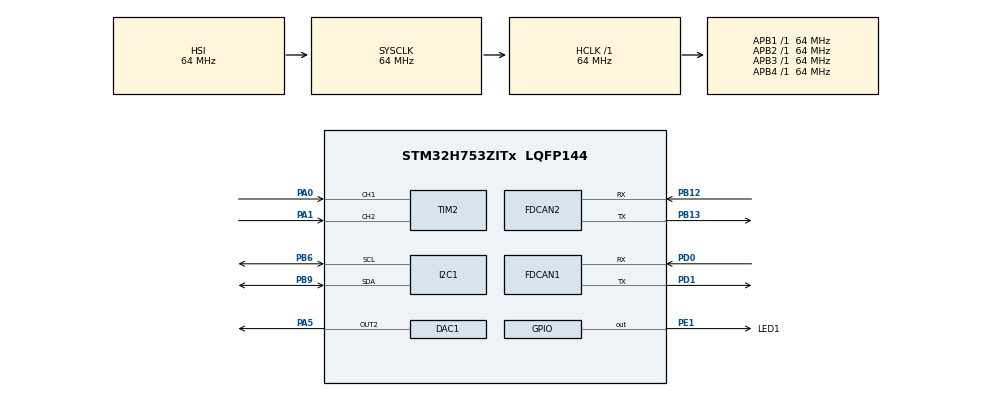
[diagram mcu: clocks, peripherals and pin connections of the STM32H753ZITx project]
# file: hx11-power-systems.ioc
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CORTEX_M7.default_mode_Activation=1
DAC1.DAC_Channel-DAC_OUT2=DAC_CHANNEL_2
FDCAN1.CalculateBaudRateNominal=500000
FDCAN1.CalculateTimeBitNominal=2000
FDCAN1.CalculateTimeQuantumNominal=125.0
FDCAN1.ClockCalibrationCCU=DISABLE
FDCAN1.ExtFiltersNbr=2
FDCAN1.NominalPrescaler=5
FDCAN1.NominalTimeSeg1=13
FDCAN1.NominalTimeSeg2=2
FDCAN1.RxFifo0ElmtsNbr=4
FDCAN2.CalculateBaudRateNominal=500000
FDCAN2.CalculateTimeBitNominal=2000
FDCAN2.CalculateTimeQuantumNominal=125.0
FDCAN2.ExtFiltersNbr=2
FDCAN2.NominalPrescaler=5
FDCAN2.NominalTimeSeg1=13
FDCAN2.NominalTimeSeg2=2
FDCAN2.RxFifo1ElmtsNbr=10
I2C1.Timing=0x00000E14
Mcu.Family=STM32H7
Mcu.Name=STM32H753ZITx
Mcu.Package=LQFP144
NVIC.FDCAN1_IT0_IRQn=true\:0\:0\:false\:false\:true\:true\:true\:true
NVIC.FDCAN2_IT1_IRQn=true\:0\:0\:false\:false\:true\:true\:true\:true
NVIC.I2C1_ER_IRQn=true\:0\:0\:false\:false\:true\:true\:true\:true
NVIC.I2C1_EV_IRQn=true\:0\:0\:false\:false\:true\:true\:true\:true
NVIC.PriorityGroup=NVIC_PRIORITYGROUP_4
NVIC.TIM2_IRQn=true\:0\:0\:false\:false\:true\:true\:true\:true
PA0.Signal=S_TIM2_CH1_ETR
PA1.Signal=S_TIM2_CH2
PA5.Signal=COMP_DAC12_group
PB12.Mode=FDCAN_Activate
PB12.Signal=FDCAN2_RX
PB13.Mode=FDCAN_Activate
PB13.Signal=FDCAN2_TX
PB6.GPIO_Pu=GPIO_PULLUP
PB6.GPIO_Speed=GPIO_SPEED_FREQ_HIGH
PB6.Mode=I2C
PB6.Signal=I2C1_SCL
PB9.GPIO_Pu=GPIO_PULLUP
PB9.GPIO_Speed=GPIO_SPEED_FREQ_HIGH
PB9.Mode=I2C
PB9.Signal=I2C1_SDA
PD0.GPIO_PuPd=GPIO_PULLUP
PD0.Mode=FDCAN_Activate
PD0.Signal=FDCAN1_RX
PD1.GPIO_PuPd=GPIO_PULLUP
PD1.Mode=FDCAN_Activate
PD1.Signal=FDCAN1_TX
PE1.GPIO_Label=LED1
PE1.Signal=GPIO_Output
ProjectManager.HeapSize=0x200
ProjectManager.StackSize=0x400
ProjectManager.TargetToolchain=STM32CubeIDE
RCC.ADCFreq_Value=129000000
RCC.APB1Freq_Value=64000000
RCC.APB2Freq_Value=64000000
RCC.APB3Freq_Value=64000000
RCC.APB4Freq_Value=64000000
RCC.CortexFreq_Value=64000000
RCC.DIVM1=4
RCC.DIVN1=10
RCC.DIVQ1=4
RCC.HCLKFreq_Value=64000000
RCC.I2C123CLockSelection=RCC_I2C123CLKSOURCE_CSI
RCC.PLLFRACN=0
RCC.SYSCLKFreq_VALUE=64000000
RCC.USBFreq_Value=40000000
SH.COMP_DAC12_group.0=DAC1_OUT2,DAC_OUT2
SH.S_TIM2_CH1_ETR.0=TIM2_CH1,Encoder_Interface
SH.S_TIM2_CH2.0=TIM2_CH2,Encoder_Interface
TIM2.EncoderMode=TIM_ENCODERMODE_TI12
TIM2.IC1Polarity=TIM_ICPOLARITY_FALLING
TIM2.IC2Polarity=TIM_ICPOLARITY_FALLING
VP_MEMORYMAP_VS_MEMORYMAP.Mode=CurAppReg
board=custom

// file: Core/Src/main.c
/* USER CODE BEGIN Header */
/**
  ******************************************************************************
  * @file           : main.c
  * @brief          : Main program body
  ******************************************************************************
  * @attention
  *
  * Copyright (c) 2026 STMicroelectronics.
  * All rights reserved.
  *
  * This software is licensed under terms that can be found in the LICENSE file
  * in the root directory of this software component.
  * If no LICENSE file comes with this software, it is provided AS-IS.
  *
  ******************************************************************************
  */
/* USER CODE END Header */
#include "main.h"

/* USER CODE BEGIN Includes */
#include <stdio.h>

#include "can.h"
#include "throttleDriver.h"
/* USER CODE END Includes */

DAC_HandleTypeDef hdac1;

FDCAN_HandleTypeDef hfdcan1;
FDCAN_HandleTypeDef hfdcan2;

I2C_HandleTypeDef hi2c1;

TIM_HandleTypeDef htim2;

void SystemClock_Config(void);
static void MPU_Config(void);
static void MX_GPIO_Init(void);
static void MX_FDCAN1_Init(void);
static void MX_DAC1_Init(void);
static void MX_TIM2_Init(void);
static void MX_I2C1_Init(void);
static void MX_FDCAN2_Init(void);

/* USER CODE BEGIN 0 */
int debug0;
int debug1;
int debug2;
int debug3;
int debug4;
int debug5;

VFD_CAN_Data vfdData;
BMS_CAN_Data bmsData;
IMD_CAN_Data imdData;

/* USER CODE END 0 */

int main(void)
{

  /* MPU Configuration--------------------------------------------------------*/
  MPU_Config();

  /* MCU Configuration--------------------------------------------------------*/

  /* Reset of all peripherals, Initializes the Flash interface and the Systick. */
  HAL_Init();

  /* Configure the system clock */
  SystemClock_Config();

  /* Initialize all configured peripherals */
  MX_GPIO_Init();
  MX_FDCAN1_Init();
  MX_DAC1_Init();
  MX_TIM2_Init();
  MX_I2C1_Init();
  MX_FDCAN2_Init();
  /* USER CODE BEGIN 2 */

  //dac testing:
  HAL_DAC_Start(&hdac1, DAC_CHANNEL_2);

  // can line 1
  HAL_NVIC_SetPriority(FDCAN1_IT0_IRQn, 5, 0);
  HAL_NVIC_EnableIRQ(FDCAN1_IT0_IRQn);

  //can line 2
  HAL_NVIC_SetPriority(FDCAN2_IT1_IRQn, 5, 0);
  HAL_NVIC_EnableIRQ(FDCAN2_IT1_IRQn);

  //CAN2 filter (250)
  FDCAN_FilterTypeDef filter2;
  filter2.IdType = FDCAN_EXTENDED_ID;
  filter2.FilterIndex = 1;
  filter2.FilterType = FDCAN_FILTER_MASK;
  filter2.FilterConfig = FDCAN_FILTER_TO_RXFIFO1;
  filter2.FilterID1 = 0;
  filter2.FilterID2 = 0;
  HAL_FDCAN_ConfigFilter(&hfdcan2, &filter2);

  // CAN1 filter (500)
  FDCAN_FilterTypeDef filter1;
  filter1.IdType = FDCAN_EXTENDED_ID;
  filter1.FilterIndex = 0;
  filter1.FilterType = FDCAN_FILTER_MASK;
  filter1.FilterConfig = FDCAN_FILTER_TO_RXFIFO0;
  filter1.FilterID1 = 0;
  filter1.FilterID2 = 0;
  HAL_FDCAN_ConfigFilter(&hfdcan1, &filter1);

  if ((HAL_FDCAN_Start(&hfdcan1) != HAL_OK))
  {
      Error_Handler();
  }

  if ((HAL_FDCAN_Start(&hfdcan2) != HAL_OK))
    {
        Error_Handler();
    }

  HAL_FDCAN_ConfigInterruptLines(&hfdcan1, FDCAN_IT_RX_FIFO0_NEW_MESSAGE, FDCAN_INTERRUPT_LINE0);

  HAL_FDCAN_ConfigInterruptLines(&hfdcan2, FDCAN_IT_RX_FIFO1_NEW_MESSAGE, FDCAN_INTERRUPT_LINE1);

  // Activate the notification for new data in FIFO0 for FDCAN1, FIFO1 for FDCAN2
  //this notification triggers the interrupt
  if ((HAL_FDCAN_ActivateNotification(&hfdcan1, FDCAN_IT_RX_FIFO0_NEW_MESSAGE, 0) != HAL_OK))
  {
      Error_Handler();
  }

  if ((HAL_FDCAN_ActivateNotification(&hfdcan2, FDCAN_IT_RX_FIFO1_NEW_MESSAGE, 0) != HAL_OK))
    {
        Error_Handler();
    }

  //=============================================================================

  /* USER CODE END 2 */

  /* Infinite loop */
  /* USER CODE BEGIN WHILE */

  while (1)
  {
		//process_CAN250_msgs(&vfdData);
		//process_CAN500_msgs(&bmsData, &imdData);

		DAC_SetValue(1000);
		HAL_Delay(1000);
		DAC_SetValue(2000);
		HAL_Delay(1000);
		DAC_SetValue(4095);
		HAL_Delay(1000);

    /* USER CODE END WHILE */

  }
}

void SystemClock_Config(void)
{
  RCC_OscInitTypeDef RCC_OscInitStruct = {0};
  RCC_ClkInitTypeDef RCC_ClkInitStruct = {0};

  /** Supply configuration update enable
  */
  HAL_PWREx_ConfigSupply(PWR_LDO_SUPPLY);

  /** Configure the main internal regulator output voltage
  */
  __HAL_PWR_VOLTAGESCALING_CONFIG(PWR_REGULATOR_VOLTAGE_SCALE3);

  while(!__HAL_PWR_GET_FLAG(PWR_FLAG_VOSRDY)) {}

  /** Initializes the RCC Oscillators according to the specified parameters
  * in the RCC_OscInitTypeDef structure.
  */
  RCC_OscInitStruct.OscillatorType = RCC_OSCILLATORTYPE_CSI|RCC_OSCILLATORTYPE_HSI;
  RCC_OscInitStruct.HSIState = RCC_HSI_DIV1;
  RCC_OscInitStruct.HSICalibrationValue = RCC_HSICALIBRATION_DEFAULT;
  RCC_OscInitStruct.CSIState = RCC_CSI_ON;
  RCC_OscInitStruct.CSICalibrationValue = RCC_CSICALIBRATION_DEFAULT;
  RCC_OscInitStruct.PLL.PLLState = RCC_PLL_ON;
  RCC_OscInitStruct.PLL.PLLSource = RCC_PLLSOURCE_HSI;
  RCC_OscInitStruct.PLL.PLLM = 4;
  RCC_OscInitStruct.PLL.PLLN = 10;
  RCC_OscInitStruct.PLL.PLLP = 2;
  RCC_OscInitStruct.PLL.PLLQ = 4;
  RCC_OscInitStruct.PLL.PLLR = 2;
  RCC_OscInitStruct.PLL.PLLRGE = RCC_PLL1VCIRANGE_3;
  RCC_OscInitStruct.PLL.PLLVCOSEL = RCC_PLL1VCOMEDIUM;
  RCC_OscInitStruct.PLL.PLLFRACN = 0;
  if (HAL_RCC_OscConfig(&RCC_OscInitStruct) != HAL_OK)
  {
    Error_Handler();
  }

  /** Initializes the CPU, AHB and APB buses clocks
  */
  RCC_ClkInitStruct.ClockType = RCC_CLOCKTYPE_HCLK|RCC_CLOCKTYPE_SYSCLK
                              |RCC_CLOCKTYPE_PCLK1|RCC_CLOCKTYPE_PCLK2
                              |RCC_CLOCKTYPE_D3PCLK1|RCC_CLOCKTYPE_D1PCLK1;
  RCC_ClkInitStruct.SYSCLKSource = RCC_SYSCLKSOURCE_HSI;
  RCC_ClkInitStruct.SYSCLKDivider = RCC_SYSCLK_DIV1;
  RCC_ClkInitStruct.AHBCLKDivider = RCC_HCLK_DIV1;
  RCC_ClkInitStruct.APB3CLKDivider = RCC_APB3_DIV1;
  RCC_ClkInitStruct.APB1CLKDivider = RCC_APB1_DIV1;
  RCC_ClkInitStruct.APB2CLKDivider = RCC_APB2_DIV1;
  RCC_ClkInitStruct.APB4CLKDivider = RCC_APB4_DIV1;

  if (HAL_RCC_ClockConfig(&RCC_ClkInitStruct, FLASH_LATENCY_1) != HAL_OK)
  {
    Error_Handler();
  }
}

static void MX_DAC1_Init(void)
{

  DAC_ChannelConfTypeDef sConfig = {0};

  /** DAC Initialization
  */
  hdac1.Instance = DAC1;
  if (HAL_DAC_Init(&hdac1) != HAL_OK)
  {
    Error_Handler();
  }

  /** DAC channel OUT2 config
  */
  sConfig.DAC_SampleAndHold = DAC_SAMPLEANDHOLD_DISABLE;
  sConfig.DAC_Trigger = DAC_TRIGGER_NONE;
  sConfig.DAC_OutputBuffer = DAC_OUTPUTBUFFER_ENABLE;
  sConfig.DAC_ConnectOnChipPeripheral = DAC_CHIPCONNECT_DISABLE;
  sConfig.DAC_UserTrimming = DAC_TRIMMING_FACTORY;
  if (HAL_DAC_ConfigChannel(&hdac1, &sConfig, DAC_CHANNEL_2) != HAL_OK)
  {
    Error_Handler();
  }
  /* USER CODE BEGIN DAC1_Init 2 */
  HAL_DAC_Start(&hdac1, DAC_CHANNEL_2);
  /* USER CODE END DAC1_Init 2 */

}

static void MX_FDCAN1_Init(void)
{

  hfdcan1.Instance = FDCAN1;
  hfdcan1.Init.FrameFormat = FDCAN_FRAME_CLASSIC;
  hfdcan1.Init.Mode = FDCAN_MODE_NORMAL;
  hfdcan1.Init.AutoRetransmission = DISABLE;
  hfdcan1.Init.TransmitPause = DISABLE;
  hfdcan1.Init.ProtocolException = DISABLE;
  hfdcan1.Init.NominalPrescaler = 5;
  hfdcan1.Init.NominalSyncJumpWidth = 1;
  hfdcan1.Init.NominalTimeSeg1 = 13;
  hfdcan1.Init.NominalTimeSeg2 = 2;
  hfdcan1.Init.DataPrescaler = 1;
  hfdcan1.Init.DataSyncJumpWidth = 1;
  hfdcan1.Init.DataTimeSeg1 = 1;
  hfdcan1.Init.DataTimeSeg2 = 1;
  hfdcan1.Init.MessageRAMOffset = 0;
  hfdcan1.Init.StdFiltersNbr = 0;
  hfdcan1.Init.ExtFiltersNbr = 2;
  hfdcan1.Init.RxFifo0ElmtsNbr = 4;
  hfdcan1.Init.RxFifo0ElmtSize = FDCAN_DATA_BYTES_8;
  hfdcan1.Init.RxFifo1ElmtsNbr = 0;
  hfdcan1.Init.RxFifo1ElmtSize = FDCAN_DATA_BYTES_8;
  hfdcan1.Init.RxBuffersNbr = 0;
  hfdcan1.Init.RxBufferSize = FDCAN_DATA_BYTES_8;
  hfdcan1.Init.TxEventsNbr = 0;
  hfdcan1.Init.TxBuffersNbr = 0;
  hfdcan1.Init.TxFifoQueueElmtsNbr = 0;
  hfdcan1.Init.TxFifoQueueMode = FDCAN_TX_FIFO_OPERATION;
  hfdcan1.Init.TxElmtSize = FDCAN_DATA_BYTES_8;
  if (HAL_FDCAN_Init(&hfdcan1) != HAL_OK)
  {
    Error_Handler();
  }

}

static void MX_FDCAN2_Init(void)
{

  hfdcan2.Instance = FDCAN2;
  hfdcan2.Init.FrameFormat = FDCAN_FRAME_CLASSIC;
  hfdcan2.Init.Mode = FDCAN_MODE_NORMAL;
  hfdcan2.Init.AutoRetransmission = DISABLE;
  hfdcan2.Init.TransmitPause = DISABLE;
  hfdcan2.Init.ProtocolException = DISABLE;
  hfdcan2.Init.NominalPrescaler = 5;
  hfdcan2.Init.NominalSyncJumpWidth = 1;
  hfdcan2.Init.NominalTimeSeg1 = 13;
  hfdcan2.Init.NominalTimeSeg2 = 2;
  hfdcan2.Init.DataPrescaler = 1;
  hfdcan2.Init.DataSyncJumpWidth = 1;
  hfdcan2.Init.DataTimeSeg1 = 1;
  hfdcan2.Init.DataTimeSeg2 = 1;
  hfdcan2.Init.MessageRAMOffset = 0;
  hfdcan2.Init.StdFiltersNbr = 0;
  hfdcan2.Init.ExtFiltersNbr = 2;
  hfdcan2.Init.RxFifo0ElmtsNbr = 0;
  hfdcan2.Init.RxFifo0ElmtSize = FDCAN_DATA_BYTES_8;
  hfdcan2.Init.RxFifo1ElmtsNbr = 10;
  hfdcan2.Init.RxFifo1ElmtSize = FDCAN_DATA_BYTES_8;
  hfdcan2.Init.RxBuffersNbr = 0;
  hfdcan2.Init.RxBufferSize = FDCAN_DATA_BYTES_8;
  hfdcan2.Init.TxEventsNbr = 0;
  hfdcan2.Init.TxBuffersNbr = 0;
  hfdcan2.Init.TxFifoQueueElmtsNbr = 0;
  hfdcan2.Init.TxFifoQueueMode = FDCAN_TX_FIFO_OPERATION;
  hfdcan2.Init.TxElmtSize = FDCAN_DATA_BYTES_8;
  if (HAL_FDCAN_Init(&hfdcan2) != HAL_OK)
  {
    Error_Handler();
  }

}

static void MX_I2C1_Init(void)
{

  hi2c1.Instance = I2C1;
  hi2c1.Init.Timing = 0x00000E14;
  hi2c1.Init.OwnAddress1 = 0;
  hi2c1.Init.AddressingMode = I2C_ADDRESSINGMODE_7BIT;
  hi2c1.Init.DualAddressMode = I2C_DUALADDRESS_DISABLE;
  hi2c1.Init.OwnAddress2 = 0;
  hi2c1.Init.OwnAddress2Masks = I2C_OA2_NOMASK;
  hi2c1.Init.GeneralCallMode = I2C_GENERALCALL_DISABLE;
  hi2c1.Init.NoStretchMode = I2C_NOSTRETCH_DISABLE;
  if (HAL_I2C_Init(&hi2c1) != HAL_OK)
  {
    Error_Handler();
  }

  /** Configure Analogue filter
  */
  if (HAL_I2CEx_ConfigAnalogFilter(&hi2c1, I2C_ANALOGFILTER_ENABLE) != HAL_OK)
  {
    Error_Handler();
  }

  /** Configure Digital filter
  */
  if (HAL_I2CEx_ConfigDigitalFilter(&hi2c1, 0) != HAL_OK)
  {
    Error_Handler();
  }

}

static void MX_TIM2_Init(void)
{

  TIM_Encoder_InitTypeDef sConfig = {0};
  TIM_MasterConfigTypeDef sMasterConfig = {0};

  htim2.Instance = TIM2;
  htim2.Init.Prescaler = 0;
  htim2.Init.CounterMode = TIM_COUNTERMODE_UP;
  htim2.Init.Period = 4294967295;
  htim2.Init.ClockDivision = TIM_CLOCKDIVISION_DIV1;
  htim2.Init.AutoReloadPreload = TIM_AUTORELOAD_PRELOAD_DISABLE;
  sConfig.EncoderMode = TIM_ENCODERMODE_TI12;
  sConfig.IC1Polarity = TIM_ICPOLARITY_FALLING;
  sConfig.IC1Selection = TIM_ICSELECTION_DIRECTTI;
  sConfig.IC1Prescaler = TIM_ICPSC_DIV1;
  sConfig.IC1Filter = 0;
  sConfig.IC2Polarity = TIM_ICPOLARITY_FALLING;
  sConfig.IC2Selection = TIM_ICSELECTION_DIRECTTI;
  sConfig.IC2Prescaler = TIM_ICPSC_DIV1;
  sConfig.IC2Filter = 0;
  if (HAL_TIM_Encoder_Init(&htim2, &sConfig) != HAL_OK)
  {
    Error_Handler();
  }
  sMasterConfig.MasterOutputTrigger = TIM_TRGO_RESET;
  sMasterConfig.MasterSlaveMode = TIM_MASTERSLAVEMODE_DISABLE;
  if (HAL_TIMEx_MasterConfigSynchronization(&htim2, &sMasterConfig) != HAL_OK)
  {
    Error_Handler();
  }

}

static void MX_GPIO_Init(void)
{
  GPIO_InitTypeDef GPIO_InitStruct = {0};

  /* GPIO Ports Clock Enable */
  __HAL_RCC_GPIOA_CLK_ENABLE();
  __HAL_RCC_GPIOB_CLK_ENABLE();
  __HAL_RCC_GPIOD_CLK_ENABLE();
  __HAL_RCC_GPIOE_CLK_ENABLE();

  /*Configure GPIO pin Output Level */
  HAL_GPIO_WritePin(LED1_GPIO_Port, LED1_Pin, GPIO_PIN_RESET);

  /*Configure GPIO pin : LED1_Pin */
  GPIO_InitStruct.Pin = LED1_Pin;
  GPIO_InitStruct.Mode = GPIO_MODE_OUTPUT_PP;
  GPIO_InitStruct.Pull = GPIO_NOPULL;
  GPIO_InitStruct.Speed = GPIO_SPEED_FREQ_LOW;
  HAL_GPIO_Init(LED1_GPIO_Port, &GPIO_InitStruct);

}

 /* MPU Configuration */

void MPU_Config(void)
{
  MPU_Region_InitTypeDef MPU_InitStruct = {0};

  /* Disables the MPU */
  HAL_MPU_Disable();

  /** Initializes and configures the Region and the memory to be protected
  */
  MPU_InitStruct.Enable = MPU_REGION_ENABLE;
  MPU_InitStruct.Number = MPU_REGION_NUMBER0;
  MPU_InitStruct.BaseAddress = 0x0;
  MPU_InitStruct.Size = MPU_REGION_SIZE_4GB;
  MPU_InitStruct.SubRegionDisable = 0x87;
  MPU_InitStruct.TypeExtField = MPU_TEX_LEVEL0;
  MPU_InitStruct.AccessPermission = MPU_REGION_NO_ACCESS;
  MPU_InitStruct.DisableExec = MPU_INSTRUCTION_ACCESS_DISABLE;
  MPU_InitStruct.IsShareable = MPU_ACCESS_SHAREABLE;
  MPU_InitStruct.IsCacheable = MPU_ACCESS_NOT_CACHEABLE;
  MPU_InitStruct.IsBufferable = MPU_ACCESS_NOT_BUFFERABLE;

  HAL_MPU_ConfigRegion(&MPU_InitStruct);
  /* Enables the MPU */
  HAL_MPU_Enable(MPU_PRIVILEGED_DEFAULT);

}

void Error_Handler(void)
{
  __disable_irq();
  while (1)
  {
  }
}
